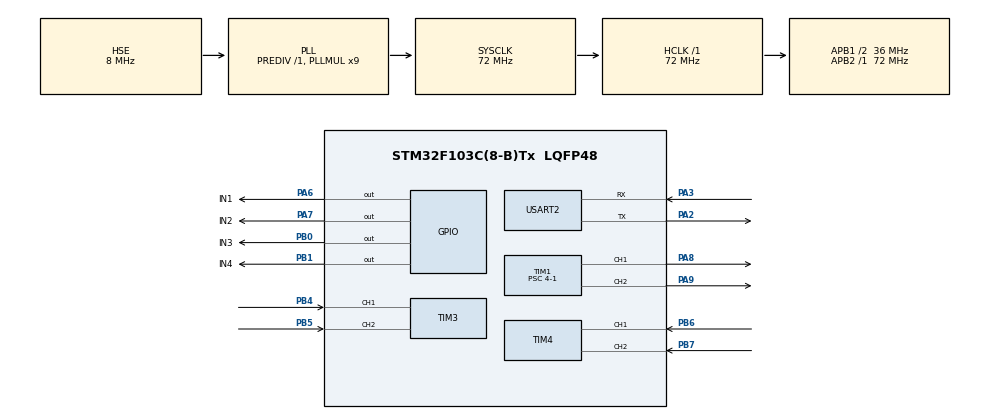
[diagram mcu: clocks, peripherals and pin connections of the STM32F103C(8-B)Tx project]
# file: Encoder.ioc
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Mcu.Family=STM32F1
Mcu.Name=STM32F103C(8-B)Tx
Mcu.Package=LQFP48
NVIC.PriorityGroup=NVIC_PRIORITYGROUP_4
NVIC.TIM2_IRQn=true\:1\:0\:true\:false\:true\:true\:true\:true
PA13.Mode=Serial_Wire
PA13.Signal=SYS_JTMS-SWDIO
PA14.Mode=Serial_Wire
PA14.Signal=SYS_JTCK-SWCLK
PA2.Mode=Asynchronous
PA2.Signal=USART2_TX
PA3.Mode=Asynchronous
PA3.Signal=USART2_RX
PA6.GPIO_Label=IN1
PA6.PinState=GPIO_PIN_RESET
PA6.Signal=GPIO_Output
PA7.GPIO_Label=IN2
PA7.PinState=GPIO_PIN_SET
PA7.Signal=GPIO_Output
PA8.Signal=S_TIM1_CH1
PA9.Signal=S_TIM1_CH2
PB0.GPIO_Label=IN3
PB0.PinState=GPIO_PIN_SET
PB0.Signal=GPIO_Output
PB1.GPIO_Label=IN4
PB1.Signal=GPIO_Output
PB4.Signal=S_TIM3_CH1
PB5.Signal=S_TIM3_CH2
PB6.Signal=S_TIM4_CH1
PB7.Signal=S_TIM4_CH2
PD0-OSC_IN.Mode=HSE-External-Oscillator
PD0-OSC_IN.Signal=RCC_OSC_IN
PD1-OSC_OUT.Mode=HSE-External-Oscillator
PD1-OSC_OUT.Signal=RCC_OSC_OUT
ProjectManager.HeapSize=0x200
ProjectManager.StackSize=0x600
ProjectManager.TargetToolchain=MDK-ARM V5
RCC.AHBFreq_Value=72000000
RCC.APB1CLKDivider=RCC_HCLK_DIV2
RCC.APB1Freq_Value=36000000
RCC.APB1TimFreq_Value=72000000
RCC.APB2Freq_Value=72000000
RCC.APB2TimFreq_Value=72000000
RCC.HCLKFreq_Value=72000000
RCC.PLLMUL=RCC_PLL_MUL9
RCC.PLLSourceVirtual=RCC_PLLSOURCE_HSE
RCC.SYSCLKFreq_VALUE=72000000
RCC.SYSCLKSource=RCC_SYSCLKSOURCE_PLLCLK
RCC.USBFreq_Value=72000000
SH.S_TIM1_CH1.0=TIM1_CH1,PWM Generation1 CH1
SH.S_TIM1_CH2.0=TIM1_CH2,PWM Generation2 CH2
SH.S_TIM3_CH1.0=TIM3_CH1,Encoder_Interface
SH.S_TIM3_CH2.0=TIM3_CH2,Encoder_Interface
SH.S_TIM4_CH1.0=TIM4_CH1,Encoder_Interface
SH.S_TIM4_CH2.0=TIM4_CH2,Encoder_Interface
TIM1.Channel-PWM\ Generation1\ CH1=TIM_CHANNEL_1
TIM1.Channel-PWM\ Generation2\ CH2=TIM_CHANNEL_2
TIM1.Period=1000-1
TIM1.Prescaler=4-1
TIM2.Period=7200-1
TIM2.Prescaler=500-1
TIM3.AutoReloadPreload=TIM_AUTORELOAD_PRELOAD_ENABLE
TIM3.EncoderMode=TIM_ENCODERMODE_TI12
TIM4.AutoReloadPreload=TIM_AUTORELOAD_PRELOAD_ENABLE
TIM4.EncoderMode=TIM_ENCODERMODE_TI12
USART2.VirtualMode=VM_ASYNC
VP_TIM1_VS_ClockSourceINT.Mode=Internal
VP_TIM2_VS_ClockSourceINT.Mode=Internal
board=custom

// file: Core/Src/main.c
/* USER CODE BEGIN Header */
/**
  ******************************************************************************
  * @file           : main.c
  * @brief          : 小车主控程序
  ******************************************************************************
  * @attention
  *
  * Copyright (c) 2023 STMicroelectronics.
  * All rights reserved.
  *
  * This software is licensed under terms that can be found in the LICENSE file
  * in the root directory of this software component.
  * If no LICENSE file comes with this software, it is provided AS-IS.
  *
  ******************************************************************************
  */
/* USER CODE END Header */
#include "main.h"
#include "tim.h"
#include "usart.h"
#include "gpio.h"
#include "stdio.h"

/* USER CODE BEGIN PD */
//左轮
#define LIN_Port GPIOB
#define LIN1 GPIO_PIN_0
#define LIN2 GPIO_PIN_1
//右轮
#define RIN_Port GPIOA
#define RIN1 GPIO_PIN_6
#define RIN2 GPIO_PIN_7
//定时器以及通道
#define motor_TIM &htim1
#define rightMotorChannel TIM_CHANNEL_1
#define leftMotorChannel TIM_CHANNEL_2

/* USER CODE END PD */

/* USER CODE BEGIN PV */
short encoderPulse[2]={0};
typedef struct
{
	//相关速度PID参数
	float Kp;
	float Ki;
	float Kd;
	float Ur;				//限幅值

  int EN;                 //PID使能
	float Un;					//期望输出值
	float En_1;				//上一次的误差值
	float En_2;				//上上次的误差值
	int PWM;				//输出PWM值
}PID_InitDefStruct;

void PID_Init(PID_InitDefStruct* p) //PID值初始化
{
	p->Kp = 30.0;
	p->Ki = 7.25;
	p->Kd = 5.0;
	p->Ur = 2000;
	p->EN = 1;
	p->Un = 0;
	p->En_1 = 0;
	p->En_2 = 0;
	p->PWM = 0;
}

void Velocity_PID(float targetVelocity,float currentVelocity,PID_InitDefStruct* p)
{
	if(p->EN == 1)
	{
		float En = targetVelocity - currentVelocity;//误差值

		p->Un += p->Kp*(En - p->En_1) + p->Ki*En + p->Kd*(En - 2*p->En_1 + p->En_2); //增量式PID

		p->En_2 = p->En_1;
		p->En_1 = En;

		p->PWM = (int)p->Un;

		/*输出限幅*/
		if(p->PWM > p->Ur) p->PWM = p->Ur;
		if(p->PWM < -p->Ur) p->PWM = -p->Ur;
	}
	else
	{
		PID_Init(p);
	}
}
PID_InitDefStruct leftMotor_PID;
PID_InitDefStruct rightMotor_PID;

/* USER CODE END PV */

void SystemClock_Config(void);

/* USER CODE BEGIN 0 */
/**
*    @brief 控制电机进行正转、反转和停转
*    @param None
*    @retval None
*/
void LeftMotor_Go() 	//左电机正转 LIN1=1 LIN2=0 即PB0高电平PB1低电平
{
  HAL_GPIO_WritePin(LIN_Port, LIN1, GPIO_PIN_SET);
  HAL_GPIO_WritePin(LIN_Port, LIN2, GPIO_PIN_RESET);
}
void LeftMotor_Back() //左电机反转 LIN1=0 LIN2=1 即PB0低电平 PB1高电平
{
  HAL_GPIO_WritePin(LIN_Port, LIN1, GPIO_PIN_RESET);
  HAL_GPIO_WritePin(LIN_Port, LIN2, GPIO_PIN_SET);
}
void LeftMotor_Stop() //左电机停转 LIN1和LIN2电平相同
{
  HAL_GPIO_WritePin(LIN_Port, LIN1, GPIO_PIN_SET);
  HAL_GPIO_WritePin(LIN_Port, LIN2, GPIO_PIN_SET);
}
//-------------------------------------------------
void RightMotor_Go() 	//右电机正转 RIN1=0 RIN2=1 即PA6低电平 PA7高电平
{
  HAL_GPIO_WritePin(RIN_Port, RIN1, GPIO_PIN_RESET);
  HAL_GPIO_WritePin(RIN_Port, RIN2, GPIO_PIN_SET);
}
void RightMotor_Back() //右电机反转 RIN1=1 RIN2=0 即PA6高电平 PA7低电平
{
  HAL_GPIO_WritePin(RIN_Port, RIN1, GPIO_PIN_SET);
  HAL_GPIO_WritePin(RIN_Port, RIN2, GPIO_PIN_RESET);
}
void RightMotor_Stop() //右电机停转 RIN1和RIN2电平相同
{
  HAL_GPIO_WritePin(RIN_Port, RIN1, GPIO_PIN_SET);
  HAL_GPIO_WritePin(RIN_Port, RIN2, GPIO_PIN_SET);
}

/**
*    @brief 控制电机进行速度控制
*    @param 运动方向，左右电机的PWM值
*    @retval None
*/
void MotorControl(char motorDirection, int leftMotorPWM, int rightMotorPWM)
{
  switch (motorDirection)
  {
  case 0:   //前行
    LeftMotor_Go();
    RightMotor_Go();
    __HAL_TIM_SET_COMPARE(motor_TIM, rightMotorChannel, rightMotorPWM);
    __HAL_TIM_SET_COMPARE(motor_TIM, leftMotorChannel, leftMotorPWM);
    break;
  case 1:   //后退
    LeftMotor_Back();
    RightMotor_Back();
    __HAL_TIM_SET_COMPARE(motor_TIM, rightMotorChannel, rightMotorPWM);
    __HAL_TIM_SET_COMPARE(motor_TIM, leftMotorChannel, leftMotorPWM);
    break;
  case 2:   //停车
    LeftMotor_Stop();
    RightMotor_Stop();
    __HAL_TIM_SET_COMPARE(motor_TIM, rightMotorChannel, 0);
    __HAL_TIM_SET_COMPARE(motor_TIM, leftMotorChannel, 0);
    break;
  default: break;
  }
}
/* USER CODE END 0 */

int main(void)
{

  /* MCU Configuration--------------------------------------------------------*/

  /* Reset of all peripherals, Initializes the Flash interface and the Systick. */
  HAL_Init();

  /* USER CODE BEGIN Init */
  PID_Init(&leftMotor_PID);
  PID_Init(&rightMotor_PID);
  /* USER CODE END Init */

  /* Configure the system clock */
  SystemClock_Config();

  /* Initialize all configured peripherals */
  MX_GPIO_Init();
  MX_TIM1_Init();
  MX_TIM2_Init();
  MX_TIM3_Init();
  MX_TIM4_Init();
  MX_USART2_UART_Init();
  /* USER CODE BEGIN 2 */
	HAL_TIM_Base_Start_IT(&htim2);      //设定50ms中断
  HAL_TIM_PWM_Start(&htim1, TIM_CHANNEL_1);   //开启TIM1_CH1 PWM -- 右轮
	HAL_TIM_PWM_Start(&htim1, TIM_CHANNEL_2);   //开启TIM1_CH2 PWM -- 左轮
  HAL_TIM_Encoder_Start(&htim3, TIM_CHANNEL_1);   //开启编码器定时
  HAL_TIM_Encoder_Start(&htim3, TIM_CHANNEL_2);   //开启编码器定时
	HAL_TIM_Encoder_Start(&htim4, TIM_CHANNEL_1);   //开启编码器定时
  HAL_TIM_Encoder_Start(&htim4, TIM_CHANNEL_2);   //开启编码器定时

	__HAL_TIM_ENABLE_IT(&htim3,TIM_IT_UPDATE);      //开启编码器定时器更新中断，防溢出处理
	__HAL_TIM_ENABLE_IT(&htim4,TIM_IT_UPDATE);      //开启编码器定时器更新中断，防溢出处理

  __HAL_TIM_SET_COUNTER(&htim3, 30000);           //将编码器定时器初始，设定为30000
	__HAL_TIM_SET_COUNTER(&htim4, 30000);           //将编码器定时器初始，设定为30000

  /* USER CODE END 2 */

  /* Infinite loop */
  /* USER CODE BEGIN WHILE */
  while (1)
  {
    // MotorControl(0,900,900);  //直行
    // HAL_Delay(2000);
    // MotorControl(2,0,0);      //停止
    // HAL_Delay(2000);
    // MotorControl(1,5000,5000);  //后退
    // HAL_Delay(2000);
    // MotorControl(0,0,2000);    //前进左转
    // HAL_Delay(2000);
    // MotorControl(0,2000,0);    //前进右转
    // HAL_Delay(2000);
    // MotorControl(1,0,2000);    //左转退回
    // HAL_Delay(2000);
    // MotorControl(1,2000,0);    //右转退回
    // HAL_Delay(2000);
    /* USER CODE END WHILE */

  }
}

void SystemClock_Config(void)
{
  RCC_OscInitTypeDef RCC_OscInitStruct = {0};
  RCC_ClkInitTypeDef RCC_ClkInitStruct = {0};

  /** Initializes the RCC Oscillators according to the specified parameters
  * in the RCC_OscInitTypeDef structure.
  */
  RCC_OscInitStruct.OscillatorType = RCC_OSCILLATORTYPE_HSE;
  RCC_OscInitStruct.HSEState = RCC_HSE_ON;
  RCC_OscInitStruct.HSEPredivValue = RCC_HSE_PREDIV_DIV1;
  RCC_OscInitStruct.HSIState = RCC_HSI_ON;
  RCC_OscInitStruct.PLL.PLLState = RCC_PLL_ON;
  RCC_OscInitStruct.PLL.PLLSource = RCC_PLLSOURCE_HSE;
  RCC_OscInitStruct.PLL.PLLMUL = RCC_PLL_MUL9;
  if (HAL_RCC_OscConfig(&RCC_OscInitStruct) != HAL_OK)
  {
    Error_Handler();
  }

  /** Initializes the CPU, AHB and APB buses clocks
  */
  RCC_ClkInitStruct.ClockType = RCC_CLOCKTYPE_HCLK|RCC_CLOCKTYPE_SYSCLK
                              |RCC_CLOCKTYPE_PCLK1|RCC_CLOCKTYPE_PCLK2;
  RCC_ClkInitStruct.SYSCLKSource = RCC_SYSCLKSOURCE_PLLCLK;
  RCC_ClkInitStruct.AHBCLKDivider = RCC_SYSCLK_DIV1;
  RCC_ClkInitStruct.APB1CLKDivider = RCC_HCLK_DIV2;
  RCC_ClkInitStruct.APB2CLKDivider = RCC_HCLK_DIV1;

  if (HAL_RCC_ClockConfig(&RCC_ClkInitStruct, FLASH_LATENCY_2) != HAL_OK)
  {
    Error_Handler();
  }
}

/* USER CODE BEGIN 4 */
//printf重定向
int fputc(int ch, FILE *f)
{
 uint8_t temp[1] = {ch};
 HAL_UART_Transmit(&huart2, temp, 1, 2);
 return ch;
}

//编码器测速-------------------------------------------------------------
/**
  * @brief  读取定时器2和定时器3的计数值(编码器脉冲值),TIM3对应右轮，TIM对应左轮
  * @retval None
  */
void GetEncoderPulse()
{
  encoderPulse[0] = -((short)__HAL_TIM_GET_COUNTER(&htim3)); //配合小车轮子运动方向，进行取反操作
  encoderPulse[1] = -((short)__HAL_TIM_GET_COUNTER(&htim4));

  __HAL_TIM_GET_COUNTER(&htim3) = 0;   //计数值重新清零
  __HAL_TIM_GET_COUNTER(&htim4) = 0;
}

/**
  * @brief  根据得到的编码器脉冲值计算速度 单位:m/s
  * @retval 速度值
  */
float CalActualSpeed(int pulse)
{
    return (float)(0.003925 * pulse);
}
//中断处理函数
void HAL_TIM_PeriodElapsedCallback(TIM_HandleTypeDef *htim)  //定时器2中断回调函数，每50ms调用一次
{
  float c_leftSpeed, c_rightSpeed;
  if(htim->Instance == TIM2)
  {
    GetEncoderPulse();
    c_leftSpeed = CalActualSpeed(encoderPulse[1]);   //获得当前的速度值
    c_rightSpeed = CalActualSpeed(encoderPulse[0]);
    printf("leftSpeed = %.2f m/s, rightSpeed = %.2f m/s\n\r", c_leftSpeed, c_rightSpeed);

    Velocity_PID(0.7,c_leftSpeed,&leftMotor_PID); //左电机PID计算
    Velocity_PID(0.7,c_rightSpeed,&rightMotor_PID); //右电机PID计算

    MotorControl(0,leftMotor_PID.PWM,rightMotor_PID.PWM);
    // printf("LeftMotor_PID.pwm_add = %.2f m/s, RightMotor_PID.pwm_add = %.2f m/s\n\r", LeftMotor_PID.pwm_add, RightMotor_PID.pwm_add);
  }

}
/* USER CODE END 4 */

void Error_Handler(void)
{
  __disable_irq();
  while (1)
  {
  }
}
